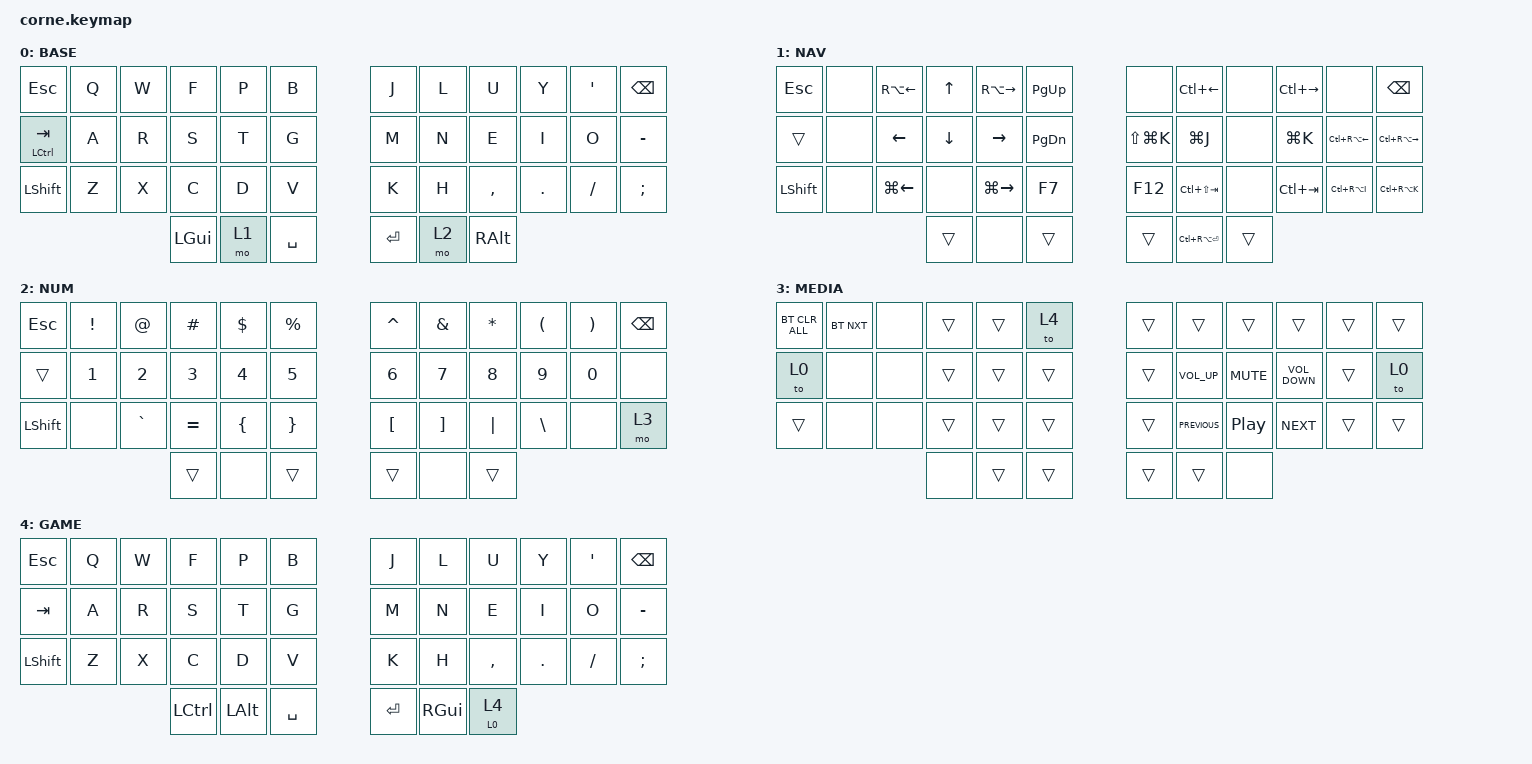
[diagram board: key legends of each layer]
/*
 * Copyright (c) 2020 The ZMK Contributors
 *
 * SPDX-License-Identifier: MIT
 */

#include <behaviors.dtsi>
#include <dt-bindings/zmk/bt.h>
#include <dt-bindings/zmk/keys.h>

/ {
    combos {
        compatible = "zmk,combos";

        del {
            bindings = <&kp DELETE>;
            key-positions = <11 6>;
        };
    };

    behaviors {
        gpt: gpt {
            compatible = "zmk,behavior-hold-tap";
            label = "GLOBAL_QUICK_TAP";
            bindings = <&kp>, <&kp>;

            #binding-cells = <2>;
            flavor = "tap-preferred";
            quick-tap-ms = <200>;
            tapping-term-ms = <200>;
            require-prior-idle-ms = <125>;
        };

        layer_2_3: layer_2_3 {
            compatible = "zmk,behavior-tap-dance";
            label = "LAYER_2_3";
            #binding-cells = <0>;
            bindings = <&mo 2>, <&tog 3>;
        };

        gui_ctrl: gui_ctrl {
            compatible = "zmk,behavior-tap-dance";
            label = "GUI_CTRL";
            #binding-cells = <0>;
            bindings = <&kp LEFT_GUI>, <&kp LEFT_CONTROL>;

            tapping-term-ms = <300>;
        };

        ht_layers: ht_layers {
            compatible = "zmk,behavior-hold-tap";
            label = "HT_LAYERS";
            bindings = <&to>, <&to>;

            #binding-cells = <2>;
            tapping-term-ms = <200>;
            quick-tap-ms = <200>;
            flavor = "tap-preferred";
            require-prior-idle-ms = <125>;
        };

        layer_tap_hold: layer_tap_hold {
            compatible = "zmk,behavior-hold-tap";
            label = "LAYER_TAP_HOLD";
            bindings = <&kp>, <&to>;

            #binding-cells = <2>;
            tapping-term-ms = <200>;
            quick-tap-ms = <200>;
            flavor = "tap-preferred";
            require-prior-idle-ms = <125>;
        };

        layer1_terminal: layer1_terminal {
            compatible = "zmk,behavior-tap-dance";
            label = "LAYER1_TERMINAL";
            #binding-cells = <0>;
            bindings = <&mo 1>, <&kp LC(GRAVE)>;
        };

        quote_grave: quote_grave {
            compatible = "zmk,behavior-tap-dance";
            label = "QUOTE_GRAVE";
            #binding-cells = <0>;
            bindings = <&kp SINGLE_QUOTE>, <&kp GRAVE>;
        };

        default_layer_switcher: default_layer_switcher {
            compatible = "zmk,behavior-hold-tap";
            label = "DEFAULT_LAYER_SWITCHER";
            bindings = <&mo>, <&none>;

            #binding-cells = <2>;
            tapping-term-ms = <150>;
            require-prior-idle-ms = <100>;
            quick-tap-ms = <200>;
            flavor = "balanced";
        };
    };

    macros {
        terminal_macro: terminal_macro {
            compatible = "zmk,behavior-macro";
            #binding-cells = <0>;
            bindings = <&kp LEFT_CONTROL &kp GRAVE>;
            label = "TERMINAL_MACRO";
        };

        arrow_highlight: arrow_highlight {
            compatible = "zmk,behavior-macro";
            #binding-cells = <0>;
            bindings = <&kp LEFT_ALT &kp LEFT_SHIFT>;
            label = "ARROW_HIGHLIGHT";
        };

        chrome_next_tab: chrome_next_tab {
            compatible = "zmk,behavior-macro";
            #binding-cells = <0>;
            bindings = <&kp LEFT_CONTROL &kp TAB>;
            label = "CHROME_NEXT_TAB";
        };

        chrome_prev_tab: chrome_prev_tab {
            compatible = "zmk,behavior-macro";
            #binding-cells = <0>;
            bindings = <&kp LEFT_CONTROL &kp LEFT_SHIFT &kp TAB>;
            label = "CHROME_PREV_TAB";
        };
    };

    keymap {
        compatible = "zmk,keymap";

        BASE {
            // -----------------------------------------------------------------------------------------
            // |  TAB |  Q  |  W  |  E  |  R  |  T  |   |  Y  |  U   |  I  |  O  |  P  | BKSP |
            // | CTRL |  A  |  S  |  D  |  F  |  G  |   |  H  |  J   |  K  |  L  |  ;  |  '   |
            // | SHFT |  Z  |  X  |  C  |  V  |  B  |   |  N  |  M   |  ,  |  .  |  /  | ESC  |
            //                    | GUI | LWR | SPC |   | ENT | RSE  | ALT |

            display-name = "BASE";
            bindings = <
&kp ESCAPE             &kp Q  &kp W  &kp F         &kp P                        &kp B        &kp J      &kp L                        &kp U      &kp Y    &kp SINGLE_QUOTE  &kp BSPC
&gpt LEFT_CONTROL TAB  &kp A  &kp R  &kp S         &kp T                        &kp G        &kp M      &kp N                        &kp E      &kp I    &kp O             &kp MINUS
&kp LSHFT              &kp Z  &kp X  &kp C         &kp D                        &kp V        &kp K      &kp H                        &kp COMMA  &kp DOT  &kp FSLH          &kp SEMI
                                     &kp LEFT_GUI  &mo 1  &kp SPACE    &kp ENTER  &mo 2  &kp RALT
            >;
        };

        NAV {
            // -----------------------------------------------------------------------------------------
            // |  TAB |  1  |  2  |  3  |  4  |  5  |   |  6  |  7  |  8  |  9  |  0  | BKSP |
            // | BTCLR| BT1 | BT2 | BT3 | BT4 | BT5 |   | LFT | DWN |  UP | RGT |     |      |
            // | SHFT |     |     |     |     |     |   |     |     |     |     |     |      |
            //                    | GUI |     | SPC |   | ENT |     | ALT |

            display-name = "NAV";
            bindings = <
&kp ESCAPE  &none  &kp RA(LEFT)  &kp UP    &kp RA(RIGHT)  &kp PAGE_UP      &none          &kp LC(LEFT)       &none   &kp LC(RIGHT)  &none                   &kp BSPC
&trans      &none  &kp LEFT      &kp DOWN  &kp RIGHT      &kp PAGE_DOWN    &kp LS(LG(K))  &kp LG(J)          &none   &kp LG(K)      &kp LC(RA(LEFT_ARROW))  &kp LC(RA(RIGHT_ARROW))
&kp LSHFT   &none  &kp LG(LEFT)  &none     &kp LG(RIGHT)  &kp F7           &kp F12        &kp LC(LS(TAB))    &none   &kp LC(TAB)    &kp LC(RA(I))           &kp LC(RA(K))
                                 &trans    &none          &trans           &trans         &kp LC(RA(ENTER))  &trans
            >;
        };

        NUM {
            // -----------------------------------------------------------------------------------------
            // |  TAB |  !  |  @  |  #  |  $  |  %  |   |  ^  |  &  |  *  |  (  |  )  | BKSP |
            // | CTRL |     |     |     |     |     |   |  -  |  =  |  [  |  ]  |  \  |  `   |
            // | SHFT |     |     |     |     |     |   |  _  |  +  |  {  |  }  | "|" |  ~   |
            //                    | GUI |     | SPC |   | ENT |     | ALT |

            display-name = "NUM";
            bindings = <
&kp ESCAPE  &kp EXCLAMATION  &kp AT     &kp HASH   &kp DOLLAR      &kp PERCENT        &kp CARET         &kp AMPERSAND      &kp ASTERISK  &kp LEFT_PARENTHESIS  &kp RIGHT_PARENTHESIS  &kp BSPC
&trans      &kp N1           &kp N2     &kp N3     &kp N4          &kp N5             &kp N6            &kp N7             &kp N8        &kp N9                &kp N0                 &none
&kp LSHFT   &none            &kp GRAVE  &kp EQUAL  &kp LEFT_BRACE  &kp RIGHT_BRACE    &kp LEFT_BRACKET  &kp RIGHT_BRACKET  &kp PIPE      &kp BACKSLASH         &none                  &mo 3
                                        &trans     &none           &trans             &trans            &none              &trans
            >;
        };

        MEDIA {
            bindings = <
&bt BT_CLR_ALL  &bt BT_NXT  &none  &trans  &trans  &to 4     &trans  &trans           &trans            &trans             &trans  &trans
&to 0           &none       &none  &trans  &trans  &trans    &trans  &kp C_VOLUME_UP  &kp K_MUTE        &kp C_VOLUME_DOWN  &trans  &to 0
&trans          &none       &none  &trans  &trans  &trans    &trans  &kp C_PREVIOUS   &kp C_PLAY_PAUSE  &kp C_NEXT         &trans  &trans
                                   &none   &trans  &trans    &trans  &trans           &none
            >;

            label = "MEDIA";
        };

        GAME {
            display-name = "GAME";
            bindings = <
&kp ESCAPE  &kp Q  &kp W  &kp F      &kp P     &kp B        &kp J      &kp L     &kp U           &kp Y    &kp SINGLE_QUOTE  &kp BSPC
&kp TAB     &kp A  &kp R  &kp S      &kp T     &kp G        &kp M      &kp N     &kp E           &kp I    &kp O             &kp MINUS
&kp LSHFT   &kp Z  &kp X  &kp C      &kp D     &kp V        &kp K      &kp H     &kp COMMA       &kp DOT  &kp FSLH          &kp SEMI
                          &kp LCTRL  &kp LALT  &kp SPACE    &kp ENTER  &kp RGUI  &ht_layers 0 4
            >;
        };
    };
};
